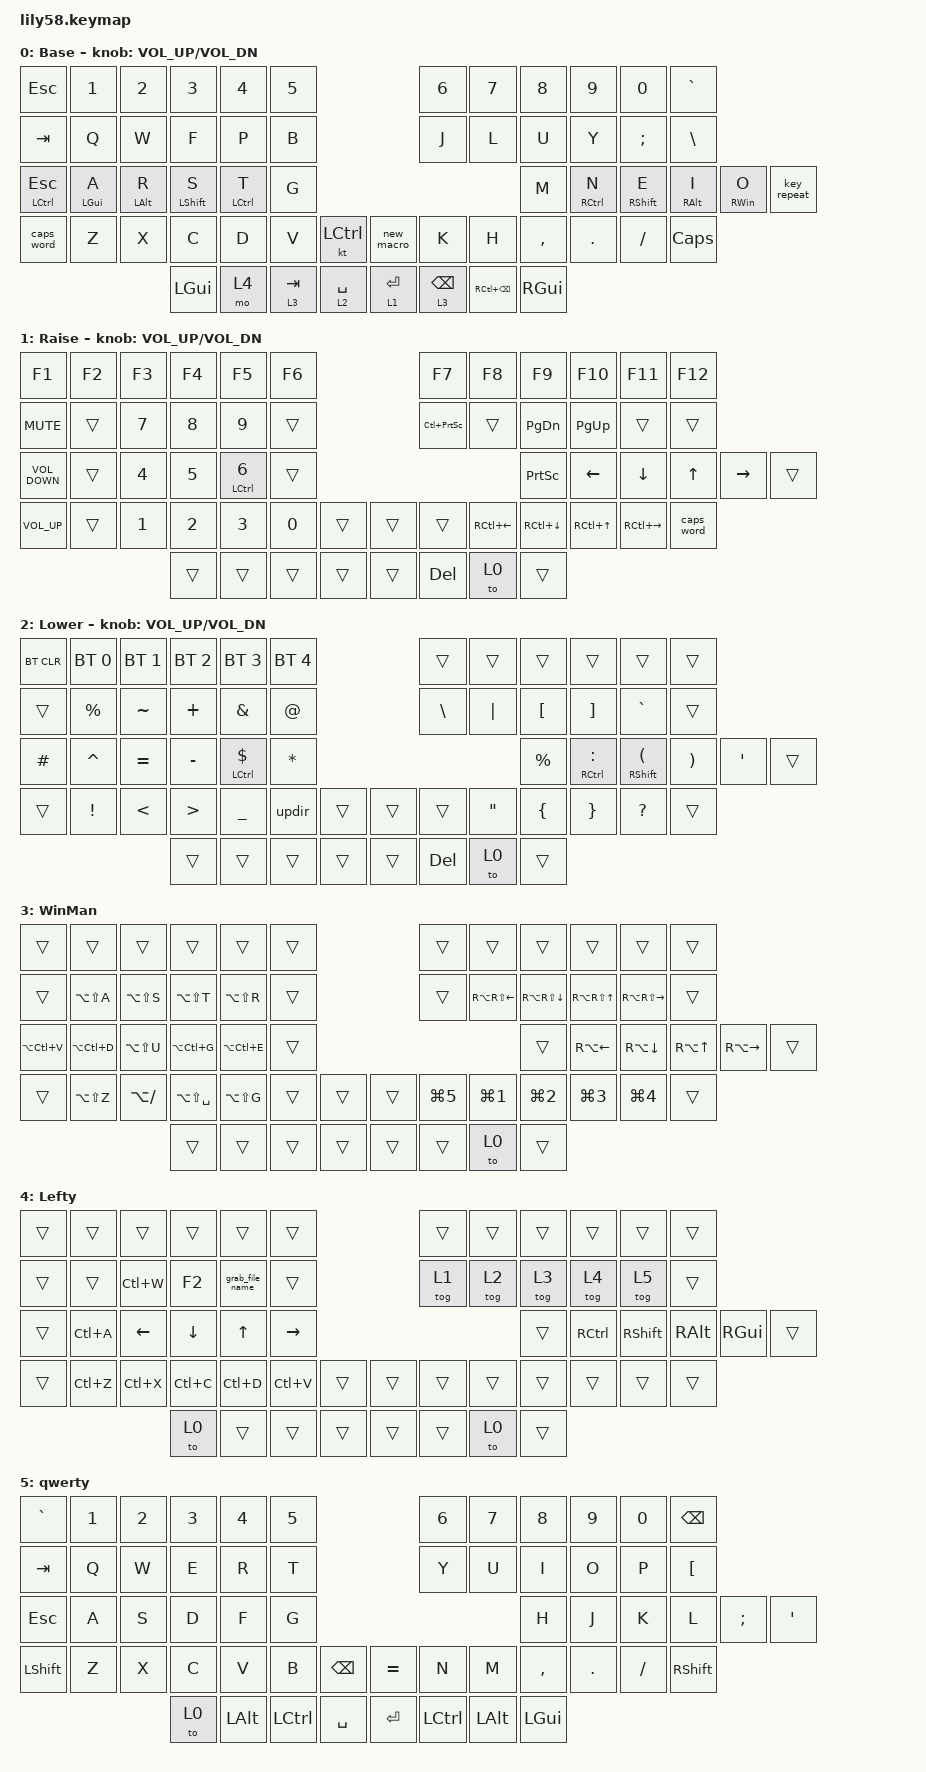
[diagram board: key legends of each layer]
/*
 * Copyright (c) 2020 The ZMK Contributors
 *
 * SPDX-License-Identifier: MIT
 */

#include <behaviors.dtsi>
#include <dt-bindings/zmk/bt.h>
#include <dt-bindings/zmk/keys.h>

&mt {
    tapping-term-ms = <170>;
    quick-tap-ms = <0>;
    flavor = "tap-preferred";
    require-prior-idle-ms = <100>;
};

/ {
    macros {
        new_macro: new_macro {
            compatible = "zmk,behavior-macro";
            #binding-cells = <0>;
            bindings = <&kp COLON &kp W>;
            label = "NEW_MACRO";
        };

        updir: updir {
            compatible = "zmk,behavior-macro";
            #binding-cells = <0>;
            bindings = <&kp PERIOD &kp PERIOD &kp SLASH &kp ENTER>;
            label = "UPDIR";
        };

        grab_file_name: grab_file_name {
            compatible = "zmk,behavior-macro";
            #binding-cells = <0>;
            bindings = <&kp F2 &kp LC(A) &kp LC(C)>;
            label = "GRAB_FILE_NAME";
        };
    };

    combos {
        compatible = "zmk,combos";

        ctrl_c {
            bindings = <&kp LC(C)>;
            key-positions = <38 39>;
        };

        ctrl_v {
            bindings = <&kp LC(V)>;
            key-positions = <39 40>;
        };

        ca_word {
            bindings = <&caps_word>;
            key-positions = <37 38>;
        };

        backslash_combo {
            bindings = <&kp BSLH>;
            key-positions = <20 21>;
        };
    };

    behaviors {
        LHS_HMR: LHS_HMR {
            compatible = "zmk,behavior-hold-tap";
            label = "LHS_HMR";
            bindings = <&kp>, <&kp>;

            #binding-cells = <2>;
            flavor = "tap-preferred";
            hold-trigger-key-positions = <6 7 8 9 10 11 18 19 20 21 22 23 30 31 32 33 34 35 43 44 45 46 47 48 49 50 51 52 53 54 55 56 57>;
            tapping-term-ms = <200>;
            quick-tap-ms = <0>;
            require-prior-idle-ms = <125>;
            hold-trigger-on-release;
        };

        RHS_HMR: RHS_HMR {
            compatible = "zmk,behavior-hold-tap";
            label = "RHS_HMR";
            bindings = <&kp>, <&kp>;

            #binding-cells = <2>;
            tapping-term-ms = <200>;
            flavor = "tap-preferred";
            quick-tap-ms = <0>;
            require-prior-idle-ms = <125>;
            hold-trigger-key-positions = <0 1 2 3 4 5 12 13 14 15 16 17 24 25 26 27 28 29 36 37 38 39 40 41 42 50 51 52 53 54 55 56 57>;
            hold-trigger-on-release;
        };

        semi_bslash: semi_bslash {
            compatible = "zmk,behavior-tap-dance";
            label = "SEMI_BSLASH";
            #binding-cells = <0>;
            bindings = <&kp SEMICOLON>, <&kp BACKSLASH>;
        };
    };

    keymap {
        compatible = "zmk,keymap";

        default_layer {
            // -------------------------------------------------------------------------------------------------------------------------------
            // |  ESC   |   1   |   2   |   3   |   4   |   5   |                       |   6     |   7     |   8    |   9    |   0    |   `   |
            // |  TAB   |   Q   |   W   |   F   |   P   |   B   |                       |   J     |   L     |   U    |   Y    |   ;    |   \   |
            // | CTL/ESC| GUI/A | ALT/R | SFT/S | CTL/T |   G   |                       |   M     | CTL/N   | SFT/E  | ALT/I  | GUI/O  | REPT  |
            // | CWORD  |   Z   |   X   |   C   |   D   |   V   |  LCTRL  |  | MACRO   |   K     |   H     |   ,    |   .    |   /    | CLCK  |
            //                          | LGUI  | MO(4) |LT3 TAB|LT2 SPACE|  |LT1 ENTER |LT3 BSPC | RC(BSPC)| RGUI   |

            display-name = "Base";
            bindings = <
&kp ESC           &kp N1          &kp N2          &kp N3            &kp N4              &kp N5                                &kp N6           &kp N7        &kp N8             &kp N9           &kp N0           &kp GRAVE
&kp TAB           &kp Q           &kp W           &kp F             &kp P               &kp B                                 &kp J            &kp L         &kp U              &kp Y            &kp SEMICOLON    &kp BACKSLASH
&LHS_HMR LCTRL ESCAPE  &LHS_HMR LEFT_GUI A  &LHS_HMR LEFT_ALT R  &LHS_HMR LEFT_SHIFT S  &LHS_HMR LEFT_CONTROL T  &kp G                            &kp M       &RHS_HMR RCTRL N  &RHS_HMR RIGHT_SHIFT E  &RHS_HMR RIGHT_ALT I  &RHS_HMR RIGHT_WIN O  &key_repeat
&caps_word        &kp Z           &kp X           &kp C             &kp D               &kp V      &kt LCTRL      &new_macro  &kp K            &kp H         &kp COMMA          &kp DOT          &kp FSLH         &kp CLCK
                                                  &kp LEFT_GUI      &mo 4               &lt 3 TAB  &lt 2 SPACE    &lt 1 RET   &lt 3 BACKSPACE  &kp RC(BSPC)  &kp RGUI
            >;

            sensor-bindings = <&inc_dec_kp C_VOL_UP C_VOL_DN>;
        };

        raise_layer {
            // -------------------------------------------------------------------------------------------------------------------------
            // |   F1   |  F2   |  F3   |  F4   |   F5    |  F6  |                  |   F7    |   F8    |   F9   |  F10  |  F11  |  F12  |
            // |  MUTE  | trans |   7   |   8   |    9    | trans|                  | C+PRTSC |  trans  |  PGDN  |  PGUP | trans | trans |
            // | VOL_DN | trans |   4   |   5   | CTL/6   | trans|                  |  PRTSC  |   <-    |   v    |   ^   |   ->  | trans |
            // | VOL_UP | trans |   1   |   2   |    3    |   0  | trans |  | trans |  trans  | C+LEFT  | C+DOWN | C+UP  | C+RGT | CWORD |
            //                          | trans |  trans  | trans| trans |  | trans |   DEL   |  TO(0)  |  trans |

            display-name = "Raise";
            bindings = <
&kp F1             &kp F2  &kp F3  &kp F4  &kp F5              &kp F6                    &kp F7               &kp F8        &kp F9         &kp F10      &kp F11        &kp F12
&kp C_MUTE         &trans  &kp N7  &kp N8  &kp N9              &trans                    &kp LC(PRINTSCREEN)  &trans        &kp PAGE_DOWN  &kp PAGE_UP  &trans         &trans
&kp C_VOLUME_DOWN  &trans  &kp N4  &kp N5  &mt LCTRL NUMBER_6  &trans                    &kp PRINTSCREEN      &kp LEFT      &kp DOWN       &kp UP       &kp RIGHT      &trans
&kp C_VOL_UP       &trans  &kp N1  &kp N2  &kp N3              &kp N0  &trans    &trans  &trans               &kp RC(LEFT)  &kp RC(DOWN)   &kp RC(UP)   &kp RC(RIGHT)  &caps_word
                                   &trans  &trans              &trans  &trans    &trans  &kp DELETE           &to 0         &trans
            >;

            sensor-bindings = <&inc_dec_kp C_VOL_UP C_VOL_DN>;
        };

        lower_layer {
            // ----------------------------------------------------------------------------------------------------------------------
            // | BTCLR |  BT1  |  BT2  |  BT3  |  BT4  |  BT5  |                  | trans |  trans | trans  | trans | trans | trans |
            // | trans |   %   |   ~   |   +   |   &   |   @   |                  |   \   |   |   |   [    |   ]   |   `   | trans |
            // |   #   |   ^   |   =   |   -   | CTL/$ |   *   |                  |   %   | CTL/: | SFT/(  |   )   |   '   | trans |
            // | trans |   !   |   <   |   >   |   _   | UPDIR | trans |  | trans | trans |   "   |   {    |   }   |   ?   | trans |
            //                         | trans | trans | trans | trans |  | trans |  DEL  | TO(0) |  trans |

            display-name = "Lower";
            bindings = <
&bt BT_CLR  &bt BT_SEL 0     &bt BT_SEL 1   &bt BT_SEL 2      &bt BT_SEL 3      &bt BT_SEL 4                    &trans         &trans             &trans                            &trans                 &trans        &trans
&trans      &kp PERCENT      &kp TILDE      &kp PLUS          &kp AMPERSAND     &kp AT                          &kp BACKSLASH  &kp PIPE           &kp LBKT                          &kp RIGHT_BRACKET      &kp GRAVE     &trans
&kp POUND   &kp CARET        &kp EQUAL      &kp MINUS         &mt LCTRL DOLLAR  &kp ASTERISK                    &kp PERCENT    &mt RCTRL COLON    &mt RIGHT_SHIFT LEFT_PARENTHESIS  &kp RIGHT_PARENTHESIS  &kp SQT       &trans
&trans      &kp EXCLAMATION  &kp LESS_THAN  &kp GREATER_THAN  &kp UNDER         &updir        &trans    &trans  &trans         &kp DOUBLE_QUOTES  &kp LEFT_BRACE                    &kp RIGHT_BRACE        &kp QUESTION  &trans
                                            &trans            &trans            &trans        &trans    &trans  &kp DELETE     &to 0              &trans
            >;

            sensor-bindings = <&inc_dec_kp C_VOL_UP C_VOL_DN>;
        };

        win_man {
            display-name = "WinMan";
            bindings = <
&trans         &trans         &trans         &trans             &trans         &trans                    &trans      &trans            &trans            &trans          &trans             &trans
&trans         &kp LA(LS(A))  &kp LA(LS(S))  &kp LA(LS(T))      &kp LA(LS(R))  &trans                    &trans      &kp RA(RS(LEFT))  &kp RA(RS(DOWN))  &kp RA(RS(UP))  &kp RA(RS(RIGHT))  &trans
&kp LA(LC(V))  &kp LA(LC(D))  &kp LA(LS(U))  &kp LA(LC(G))      &kp LA(LC(E))  &trans                    &trans      &kp RA(LEFT)      &kp RA(DOWN)      &kp RA(UP)      &kp RA(RIGHT)      &trans
&trans         &kp LA(LS(Z))  &kp LA(SLASH)  &kp LA(LS(SPACE))  &kp LA(LS(G))  &trans  &trans    &trans  &kp LG(N5)  &kp LG(N1)        &kp LG(N2)        &kp LG(N3)      &kp LG(N4)         &trans
                                             &trans             &trans         &trans  &trans    &trans  &trans      &to 0             &trans
            >;
        };

        Left_Focus {
            display-name = "Lefty";
            bindings = <
&trans  &trans     &trans     &trans     &trans           &trans                       &trans  &trans     &trans     &trans    &trans         &trans
&trans  &trans     &kp LC(W)  &kp F2     &grab_file_name  &trans                       &tog 1  &tog 2     &tog 3     &tog 4    &tog 5         &trans
&trans  &kp LC(A)  &kp LEFT   &kp DOWN   &kp UP           &kp RIGHT                    &trans  &kp RCTRL  &kp RSHFT  &kp RALT  &kp RIGHT_GUI  &trans
&trans  &kp LC(Z)  &kp LC(X)  &kp LC(C)  &kp LC(D)        &kp LC(V)  &trans    &trans  &trans  &trans     &trans     &trans    &trans         &trans
                              &to 0      &trans           &trans     &trans    &trans  &trans  &to 0      &trans
            >;

            label = "left";
        };

        qwerty {
            display-name = "qwerty";
            bindings = <
&kp GRAVE  &kp N1  &kp N2  &kp N3  &kp N4    &kp N5                             &kp N6     &kp N7    &kp N8     &kp N9   &kp N0    &kp BACKSPACE
&kp TAB    &kp Q   &kp W   &kp E   &kp R     &kp T                              &kp Y      &kp U     &kp I      &kp O    &kp P     &kp LBKT
&kp ESC    &kp A   &kp S   &kp D   &kp F     &kp G                              &kp H      &kp J     &kp K      &kp L    &kp SEMI  &kp APOS
&kp LSHFT  &kp Z   &kp X   &kp C   &kp V     &kp B      &kp BSPC     &kp EQUAL  &kp N      &kp M     &kp COMMA  &kp DOT  &kp FSLH  &kp RSHFT
                           &to 0   &kp LALT  &kp LCTRL  &kp SPACE    &kp ENTER  &kp LCTRL  &kp LALT  &kp LGUI
            >;
        };
    };
};
